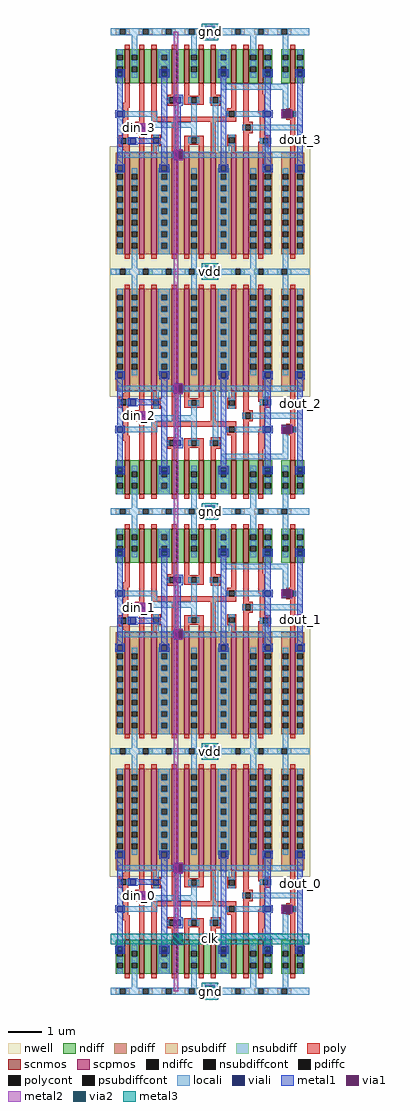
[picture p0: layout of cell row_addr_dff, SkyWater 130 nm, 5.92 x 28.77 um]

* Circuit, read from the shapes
.subckt row_addr_dff clk din_0 din_1 din_2 din_3 dout_0 dout_1 dout_2 dout_3 gnd vdd
XM1 gnd n1 n2 gnd sky130_fd_pr__nfet_01v8 w=1 l=0.15
XM2 gnd n3 n4 gnd sky130_fd_pr__nfet_01v8 w=1 l=0.15
XM3 gnd n5 n6 gnd sky130_fd_pr__nfet_01v8 w=1 l=0.15
XM4 gnd n7 n8 gnd sky130_fd_pr__nfet_01v8 w=1 l=0.15
XM5 n9 din_0 gnd gnd sky130_fd_pr__nfet_01v8 w=1 l=0.15
XM6 n10 din_1 gnd gnd sky130_fd_pr__nfet_01v8 w=1 l=0.15
XM7 n11 din_2 gnd gnd sky130_fd_pr__nfet_01v8 w=1 l=0.15
XM8 n12 din_3 gnd gnd sky130_fd_pr__nfet_01v8 w=1 l=0.15
XM9 n1 n13 n9 gnd sky130_fd_pr__nfet_01v8 w=1 l=0.15
XM10 n3 n14 n10 gnd sky130_fd_pr__nfet_01v8 w=1 l=0.15
XM11 n5 n15 n11 gnd sky130_fd_pr__nfet_01v8 w=1 l=0.15
XM12 n7 n16 n12 gnd sky130_fd_pr__nfet_01v8 w=1 l=0.15
XM13 n17 clk n1 gnd sky130_fd_pr__nfet_01v8 w=1 l=0.15
XM14 n18 clk n3 gnd sky130_fd_pr__nfet_01v8 w=1 l=0.15
XM15 n19 clk n5 gnd sky130_fd_pr__nfet_01v8 w=1 l=0.15
XM16 n20 clk n7 gnd sky130_fd_pr__nfet_01v8 w=1 l=0.15
XM17 gnd n2 n17 gnd sky130_fd_pr__nfet_01v8 w=1 l=0.15
XM18 gnd n4 n18 gnd sky130_fd_pr__nfet_01v8 w=1 l=0.15
XM19 gnd n6 n19 gnd sky130_fd_pr__nfet_01v8 w=1 l=0.15
XM20 gnd n8 n20 gnd sky130_fd_pr__nfet_01v8 w=1 l=0.15
XM21 n21 n2 gnd gnd sky130_fd_pr__nfet_01v8 w=1 l=0.15
XM22 n22 n4 gnd gnd sky130_fd_pr__nfet_01v8 w=1 l=0.15
XM23 n23 n6 gnd gnd sky130_fd_pr__nfet_01v8 w=1 l=0.15
XM24 n24 n8 gnd gnd sky130_fd_pr__nfet_01v8 w=1 l=0.15
XM25 dff_3/ON clk n21 gnd sky130_fd_pr__nfet_01v8 w=1 l=0.15
XM26 dff_2/ON clk n22 gnd sky130_fd_pr__nfet_01v8 w=1 l=0.15
XM27 dff_1/ON clk n23 gnd sky130_fd_pr__nfet_01v8 w=1 l=0.15
XM28 dff_0/ON clk n24 gnd sky130_fd_pr__nfet_01v8 w=1 l=0.15
XM29 n25 n13 dff_3/ON gnd sky130_fd_pr__nfet_01v8 w=1 l=0.15
XM30 n26 n14 dff_2/ON gnd sky130_fd_pr__nfet_01v8 w=1 l=0.15
XM31 n27 n15 dff_1/ON gnd sky130_fd_pr__nfet_01v8 w=1 l=0.15
XM32 n28 n16 dff_0/ON gnd sky130_fd_pr__nfet_01v8 w=1 l=0.15
XM33 gnd dout_0 n25 gnd sky130_fd_pr__nfet_01v8 w=1 l=0.15
XM34 gnd dout_1 n26 gnd sky130_fd_pr__nfet_01v8 w=1 l=0.15
XM35 gnd dout_2 n27 gnd sky130_fd_pr__nfet_01v8 w=1 l=0.15
XM36 gnd dout_3 n28 gnd sky130_fd_pr__nfet_01v8 w=1 l=0.15
XM37 n13 clk gnd gnd sky130_fd_pr__nfet_01v8 w=1 l=0.15
XM38 n14 clk gnd gnd sky130_fd_pr__nfet_01v8 w=1 l=0.15
XM39 n15 clk gnd gnd sky130_fd_pr__nfet_01v8 w=1 l=0.15
XM40 n16 clk gnd gnd sky130_fd_pr__nfet_01v8 w=1 l=0.15
XM41 dout_0 dff_3/ON gnd gnd sky130_fd_pr__nfet_01v8 w=1 l=0.15
XM42 dout_1 dff_2/ON gnd gnd sky130_fd_pr__nfet_01v8 w=1 l=0.15
XM43 dout_2 dff_1/ON gnd gnd sky130_fd_pr__nfet_01v8 w=1 l=0.15
XM44 dout_3 dff_0/ON gnd gnd sky130_fd_pr__nfet_01v8 w=1 l=0.15
XM45 vdd n1 n2 vdd sky130_fd_pr__pfet_01v8 w=3 l=0.15
XM46 vdd n3 n4 vdd sky130_fd_pr__pfet_01v8 w=3 l=0.15
XM47 vdd n5 n6 vdd sky130_fd_pr__pfet_01v8 w=3 l=0.15
XM48 vdd n7 n8 vdd sky130_fd_pr__pfet_01v8 w=3 l=0.15
XM49 n29 din_0 vdd vdd sky130_fd_pr__pfet_01v8 w=3 l=0.15
XM50 n30 din_1 vdd vdd sky130_fd_pr__pfet_01v8 w=3 l=0.15
XM51 n31 din_2 vdd vdd sky130_fd_pr__pfet_01v8 w=3 l=0.15
XM52 n32 din_3 vdd vdd sky130_fd_pr__pfet_01v8 w=3 l=0.15
XM53 n1 clk n29 vdd sky130_fd_pr__pfet_01v8 w=3 l=0.15
XM54 n3 clk n30 vdd sky130_fd_pr__pfet_01v8 w=3 l=0.15
XM55 n5 clk n31 vdd sky130_fd_pr__pfet_01v8 w=3 l=0.15
XM56 n7 clk n32 vdd sky130_fd_pr__pfet_01v8 w=3 l=0.15
XM57 n33 n13 n1 vdd sky130_fd_pr__pfet_01v8 w=3 l=0.15
XM58 n34 n14 n3 vdd sky130_fd_pr__pfet_01v8 w=3 l=0.15
XM59 n35 n15 n5 vdd sky130_fd_pr__pfet_01v8 w=3 l=0.15
XM60 n36 n16 n7 vdd sky130_fd_pr__pfet_01v8 w=3 l=0.15
XM61 vdd n2 n33 vdd sky130_fd_pr__pfet_01v8 w=3 l=0.15
XM62 vdd n4 n34 vdd sky130_fd_pr__pfet_01v8 w=3 l=0.15
XM63 vdd n6 n35 vdd sky130_fd_pr__pfet_01v8 w=3 l=0.15
XM64 vdd n8 n36 vdd sky130_fd_pr__pfet_01v8 w=3 l=0.15
XM65 n37 n2 vdd vdd sky130_fd_pr__pfet_01v8 w=3 l=0.15
XM66 n38 n4 vdd vdd sky130_fd_pr__pfet_01v8 w=3 l=0.15
XM67 n39 n6 vdd vdd sky130_fd_pr__pfet_01v8 w=3 l=0.15
XM68 n40 n8 vdd vdd sky130_fd_pr__pfet_01v8 w=3 l=0.15
XM69 dff_3/ON n13 n37 vdd sky130_fd_pr__pfet_01v8 w=3 l=0.15
XM70 dff_2/ON n14 n38 vdd sky130_fd_pr__pfet_01v8 w=3 l=0.15
XM71 dff_1/ON n15 n39 vdd sky130_fd_pr__pfet_01v8 w=3 l=0.15
XM72 dff_0/ON n16 n40 vdd sky130_fd_pr__pfet_01v8 w=3 l=0.15
XM73 n41 clk dff_3/ON vdd sky130_fd_pr__pfet_01v8 w=3 l=0.15
XM74 n42 clk dff_2/ON vdd sky130_fd_pr__pfet_01v8 w=3 l=0.15
XM75 n43 clk dff_1/ON vdd sky130_fd_pr__pfet_01v8 w=3 l=0.15
XM76 n44 clk dff_0/ON vdd sky130_fd_pr__pfet_01v8 w=3 l=0.15
XM77 vdd dout_0 n41 vdd sky130_fd_pr__pfet_01v8 w=3 l=0.15
XM78 vdd dout_1 n42 vdd sky130_fd_pr__pfet_01v8 w=3 l=0.15
XM79 vdd dout_2 n43 vdd sky130_fd_pr__pfet_01v8 w=3 l=0.15
XM80 vdd dout_3 n44 vdd sky130_fd_pr__pfet_01v8 w=3 l=0.15
XM81 n13 clk vdd vdd sky130_fd_pr__pfet_01v8 w=3 l=0.15
XM82 n14 clk vdd vdd sky130_fd_pr__pfet_01v8 w=3 l=0.15
XM83 n15 clk vdd vdd sky130_fd_pr__pfet_01v8 w=3 l=0.15
XM84 n16 clk vdd vdd sky130_fd_pr__pfet_01v8 w=3 l=0.15
XM85 dout_0 dff_3/ON vdd vdd sky130_fd_pr__pfet_01v8 w=3 l=0.15
XM86 dout_1 dff_2/ON vdd vdd sky130_fd_pr__pfet_01v8 w=3 l=0.15
XM87 dout_2 dff_1/ON vdd vdd sky130_fd_pr__pfet_01v8 w=3 l=0.15
XM88 dout_3 dff_0/ON vdd vdd sky130_fd_pr__pfet_01v8 w=3 l=0.15
.ends

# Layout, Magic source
magic
tech sky130A
magscale 1 2
<< metal1 >>
rect 552 5630 616 5682
rect 552 4216 616 4268
rect 552 2802 616 2854
rect 552 1388 616 1440
rect 552 -26 616 26
<< metal2 >>
rect 137 5066 203 5118
rect 137 3366 203 3418
rect 137 2238 203 2290
rect 137 538 203 590
rect 369 0 397 5656
rect 556 5632 612 5680
rect 1082 4995 1148 5047
rect 556 4218 612 4266
rect 1082 3437 1148 3489
rect 556 2804 612 2852
rect 1082 2167 1148 2219
rect 556 1390 612 1438
rect 1082 609 1148 661
rect 556 -24 612 24
<< metal3 >>
rect 535 5607 633 5705
rect 535 4193 633 4291
rect 535 2779 633 2877
rect 535 1365 633 1463
rect 0 278 1168 338
rect 535 -49 633 49
use contact_9  contact_9_8
transform 1 0 551 0 1 1377
box 0 0 66 74
use contact_9  contact_9_7
transform 1 0 551 0 1 -37
box 0 0 66 74
use contact_9  contact_9_6
transform 1 0 551 0 1 1377
box 0 0 66 74
use contact_9  contact_9_5
transform 1 0 551 0 1 2791
box 0 0 66 74
use contact_9  contact_9_4
transform 1 0 551 0 1 4205
box 0 0 66 74
use contact_9  contact_9_3
transform 1 0 551 0 1 2791
box 0 0 66 74
use contact_9  contact_9_2
transform 1 0 551 0 1 4205
box 0 0 66 74
use contact_9  contact_9_1
transform 1 0 551 0 1 5619
box 0 0 66 74
use contact_9  contact_9_0
transform 1 0 363 0 1 271
box 0 0 66 74
use contact_8  contact_8_0
transform 1 0 552 0 1 5624
box 0 0 64 64
use contact_7  contact_7_0
transform 1 0 555 0 1 5623
box 0 0 58 66
use contact_8  contact_8_1
transform 1 0 552 0 1 4210
box 0 0 64 64
use contact_7  contact_7_1
transform 1 0 555 0 1 4209
box 0 0 58 66
use contact_8  contact_8_2
transform 1 0 552 0 1 2796
box 0 0 64 64
use contact_7  contact_7_2
transform 1 0 555 0 1 2795
box 0 0 58 66
use contact_8  contact_8_3
transform 1 0 552 0 1 4210
box 0 0 64 64
use contact_7  contact_7_3
transform 1 0 555 0 1 4209
box 0 0 58 66
use contact_8  contact_8_4
transform 1 0 552 0 1 2796
box 0 0 64 64
use contact_7  contact_7_4
transform 1 0 555 0 1 2795
box 0 0 58 66
use contact_8  contact_8_5
transform 1 0 552 0 1 1382
box 0 0 64 64
use contact_7  contact_7_5
transform 1 0 555 0 1 1381
box 0 0 58 66
use contact_8  contact_8_6
transform 1 0 552 0 1 -32
box 0 0 64 64
use contact_7  contact_7_6
transform 1 0 555 0 1 -33
box 0 0 58 66
use contact_8  contact_8_7
transform 1 0 552 0 1 1382
box 0 0 64 64
use contact_7  contact_7_7
transform 1 0 555 0 1 1381
box 0 0 58 66
use dff  dff_0
transform 1 0 0 0 -1 5656
box -8 -20 1176 1467
use dff  dff_1
transform 1 0 0 0 1 2828
box -8 -20 1176 1467
use dff  dff_2
transform 1 0 0 0 -1 2828
box -8 -20 1176 1467
use dff  dff_3
transform 1 0 0 0 1 0
box -8 -20 1176 1467
<< labels >>
rlabel metal3 s 584 0 584 0 4 gnd
rlabel metal3 s 584 5656 584 5656 4 gnd
rlabel metal3 s 584 2828 584 2828 4 gnd
rlabel metal2 s 1115 3463 1115 3463 4 dout_2
rlabel metal2 s 1115 635 1115 635 4 dout_0
rlabel metal2 s 1115 2193 1115 2193 4 dout_1
rlabel metal2 s 170 564 170 564 4 din_0
rlabel metal3 s 584 4242 584 4242 4 vdd
rlabel metal3 s 584 1414 584 1414 4 vdd
rlabel metal2 s 1115 5021 1115 5021 4 dout_3
rlabel metal3 s 584 308 584 308 4 clk
rlabel metal2 s 170 3392 170 3392 4 din_2
rlabel metal2 s 170 5092 170 5092 4 din_3
rlabel metal2 s 170 2264 170 2264 4 din_1
<< properties >>
string FIXED_BBOX 0 0 1168 5656
<< end >>

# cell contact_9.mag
magic
tech sky130A
magscale 1 2
<< metal2 >>
rect 5 65 61 74
rect 5 0 61 9
<< via2 >>
rect 5 9 61 65
<< metal3 >>
rect 0 65 66 70
rect 0 9 5 65
rect 61 9 66 65
rect 0 4 66 9
<< properties >>
string FIXED_BBOX 0 0 66 74
<< end >>

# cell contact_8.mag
magic
tech sky130A
<< metal1 >>
rect 0 3 3 29
rect 29 3 32 29
<< via1 >>
rect 3 3 29 29
<< metal2 >>
rect 3 29 29 32
rect 3 0 29 3
<< properties >>
string FIXED_BBOX 0 0 32 32
<< end >>

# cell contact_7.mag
magic
tech sky130A
<< locali >>
rect 6 25 23 33
rect 6 0 23 8
<< viali >>
rect 6 8 23 25
<< metal1 >>
rect 0 25 29 28
rect 0 8 6 25
rect 23 8 29 25
rect 0 5 29 8
<< properties >>
string FIXED_BBOX 0 0 29 33
<< end >>

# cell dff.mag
magic
tech sky130A
magscale 1 2
<< nwell >>
rect -8 676 1176 1467
<< scnmos >>
rect 81 102 111 302
rect 167 102 197 302
rect 239 102 269 302
rect 359 102 389 302
rect 431 102 461 302
rect 517 102 547 302
rect 589 102 619 302
rect 709 102 739 302
rect 781 102 811 302
rect 867 102 897 302
rect 1057 102 1087 302
<< scpmos >>
rect 81 712 111 1312
rect 167 712 197 1312
rect 239 712 269 1312
rect 359 712 389 1312
rect 431 712 461 1312
rect 517 712 547 1312
rect 589 712 619 1312
rect 709 712 739 1312
rect 781 712 811 1312
rect 867 712 897 1312
rect 1057 712 1087 1312
<< ndiff >>
rect 28 237 81 302
rect 28 203 36 237
rect 70 203 81 237
rect 28 169 81 203
rect 28 135 36 169
rect 70 135 81 169
rect 28 102 81 135
rect 111 237 167 302
rect 111 203 122 237
rect 156 203 167 237
rect 111 169 167 203
rect 111 135 122 169
rect 156 135 167 169
rect 111 102 167 135
rect 197 102 239 302
rect 269 237 359 302
rect 269 203 297 237
rect 331 203 359 237
rect 269 169 359 203
rect 269 135 297 169
rect 331 135 359 169
rect 269 102 359 135
rect 389 102 431 302
rect 461 237 517 302
rect 461 203 472 237
rect 506 203 517 237
rect 461 169 517 203
rect 461 135 472 169
rect 506 135 517 169
rect 461 102 517 135
rect 547 102 589 302
rect 619 237 709 302
rect 619 203 647 237
rect 681 203 709 237
rect 619 169 709 203
rect 619 135 647 169
rect 681 135 709 169
rect 619 102 709 135
rect 739 102 781 302
rect 811 237 867 302
rect 811 203 822 237
rect 856 203 867 237
rect 811 169 867 203
rect 811 135 822 169
rect 856 135 867 169
rect 811 102 867 135
rect 897 237 950 302
rect 897 203 908 237
rect 942 203 950 237
rect 897 169 950 203
rect 897 135 908 169
rect 942 135 950 169
rect 897 102 950 135
rect 1004 237 1057 302
rect 1004 203 1012 237
rect 1046 203 1057 237
rect 1004 169 1057 203
rect 1004 135 1012 169
rect 1046 135 1057 169
rect 1004 102 1057 135
rect 1087 237 1140 302
rect 1087 203 1098 237
rect 1132 203 1140 237
rect 1087 169 1140 203
rect 1087 135 1098 169
rect 1132 135 1140 169
rect 1087 102 1140 135
<< pdiff >>
rect 28 1279 81 1312
rect 28 1245 36 1279
rect 70 1245 81 1279
rect 28 1211 81 1245
rect 28 1177 36 1211
rect 70 1177 81 1211
rect 28 1143 81 1177
rect 28 1109 36 1143
rect 70 1109 81 1143
rect 28 1075 81 1109
rect 28 1041 36 1075
rect 70 1041 81 1075
rect 28 1007 81 1041
rect 28 973 36 1007
rect 70 973 81 1007
rect 28 939 81 973
rect 28 905 36 939
rect 70 905 81 939
rect 28 871 81 905
rect 28 837 36 871
rect 70 837 81 871
rect 28 712 81 837
rect 111 1279 167 1312
rect 111 1245 122 1279
rect 156 1245 167 1279
rect 111 1211 167 1245
rect 111 1177 122 1211
rect 156 1177 167 1211
rect 111 1143 167 1177
rect 111 1109 122 1143
rect 156 1109 167 1143
rect 111 1075 167 1109
rect 111 1041 122 1075
rect 156 1041 167 1075
rect 111 1007 167 1041
rect 111 973 122 1007
rect 156 973 167 1007
rect 111 939 167 973
rect 111 905 122 939
rect 156 905 167 939
rect 111 871 167 905
rect 111 837 122 871
rect 156 837 167 871
rect 111 712 167 837
rect 197 712 239 1312
rect 269 1279 359 1312
rect 269 1245 297 1279
rect 331 1245 359 1279
rect 269 1211 359 1245
rect 269 1177 297 1211
rect 331 1177 359 1211
rect 269 1143 359 1177
rect 269 1109 297 1143
rect 331 1109 359 1143
rect 269 1075 359 1109
rect 269 1041 297 1075
rect 331 1041 359 1075
rect 269 1007 359 1041
rect 269 973 297 1007
rect 331 973 359 1007
rect 269 939 359 973
rect 269 905 297 939
rect 331 905 359 939
rect 269 871 359 905
rect 269 837 297 871
rect 331 837 359 871
rect 269 712 359 837
rect 389 712 431 1312
rect 461 1279 517 1312
rect 461 1245 472 1279
rect 506 1245 517 1279
rect 461 1211 517 1245
rect 461 1177 472 1211
rect 506 1177 517 1211
rect 461 1143 517 1177
rect 461 1109 472 1143
rect 506 1109 517 1143
rect 461 1075 517 1109
rect 461 1041 472 1075
rect 506 1041 517 1075
rect 461 1007 517 1041
rect 461 973 472 1007
rect 506 973 517 1007
rect 461 939 517 973
rect 461 905 472 939
rect 506 905 517 939
rect 461 871 517 905
rect 461 837 472 871
rect 506 837 517 871
rect 461 712 517 837
rect 547 712 589 1312
rect 619 1279 709 1312
rect 619 1245 647 1279
rect 681 1245 709 1279
rect 619 1211 709 1245
rect 619 1177 647 1211
rect 681 1177 709 1211
rect 619 1143 709 1177
rect 619 1109 647 1143
rect 681 1109 709 1143
rect 619 1075 709 1109
rect 619 1041 647 1075
rect 681 1041 709 1075
rect 619 1007 709 1041
rect 619 973 647 1007
rect 681 973 709 1007
rect 619 939 709 973
rect 619 905 647 939
rect 681 905 709 939
rect 619 871 709 905
rect 619 837 647 871
rect 681 837 709 871
rect 619 712 709 837
rect 739 712 781 1312
rect 811 1279 867 1312
rect 811 1245 822 1279
rect 856 1245 867 1279
rect 811 1211 867 1245
rect 811 1177 822 1211
rect 856 1177 867 1211
rect 811 1143 867 1177
rect 811 1109 822 1143
rect 856 1109 867 1143
rect 811 1075 867 1109
rect 811 1041 822 1075
rect 856 1041 867 1075
rect 811 1007 867 1041
rect 811 973 822 1007
rect 856 973 867 1007
rect 811 939 867 973
rect 811 905 822 939
rect 856 905 867 939
rect 811 871 867 905
rect 811 837 822 871
rect 856 837 867 871
rect 811 712 867 837
rect 897 1279 950 1312
rect 897 1245 908 1279
rect 942 1245 950 1279
rect 897 1211 950 1245
rect 897 1177 908 1211
rect 942 1177 950 1211
rect 897 1143 950 1177
rect 897 1109 908 1143
rect 942 1109 950 1143
rect 897 1075 950 1109
rect 897 1041 908 1075
rect 942 1041 950 1075
rect 897 1007 950 1041
rect 897 973 908 1007
rect 942 973 950 1007
rect 897 939 950 973
rect 897 905 908 939
rect 942 905 950 939
rect 897 871 950 905
rect 897 837 908 871
rect 942 837 950 871
rect 897 712 950 837
rect 1004 1279 1057 1312
rect 1004 1245 1012 1279
rect 1046 1245 1057 1279
rect 1004 1211 1057 1245
rect 1004 1177 1012 1211
rect 1046 1177 1057 1211
rect 1004 1143 1057 1177
rect 1004 1109 1012 1143
rect 1046 1109 1057 1143
rect 1004 1075 1057 1109
rect 1004 1041 1012 1075
rect 1046 1041 1057 1075
rect 1004 1007 1057 1041
rect 1004 973 1012 1007
rect 1046 973 1057 1007
rect 1004 939 1057 973
rect 1004 905 1012 939
rect 1046 905 1057 939
rect 1004 871 1057 905
rect 1004 837 1012 871
rect 1046 837 1057 871
rect 1004 712 1057 837
rect 1087 1279 1140 1312
rect 1087 1245 1098 1279
rect 1132 1245 1140 1279
rect 1087 1211 1140 1245
rect 1087 1177 1098 1211
rect 1132 1177 1140 1211
rect 1087 1143 1140 1177
rect 1087 1109 1098 1143
rect 1132 1109 1140 1143
rect 1087 1075 1140 1109
rect 1087 1041 1098 1075
rect 1132 1041 1140 1075
rect 1087 1007 1140 1041
rect 1087 973 1098 1007
rect 1132 973 1140 1007
rect 1087 939 1140 973
rect 1087 905 1098 939
rect 1132 905 1140 939
rect 1087 871 1140 905
rect 1087 837 1098 871
rect 1132 837 1140 871
rect 1087 712 1140 837
<< ndiffc >>
rect 36 203 70 237
rect 36 135 70 169
rect 122 203 156 237
rect 122 135 156 169
rect 297 203 331 237
rect 297 135 331 169
rect 472 203 506 237
rect 472 135 506 169
rect 647 203 681 237
rect 647 135 681 169
rect 822 203 856 237
rect 822 135 856 169
rect 908 203 942 237
rect 908 135 942 169
rect 1012 203 1046 237
rect 1012 135 1046 169
rect 1098 203 1132 237
rect 1098 135 1132 169
<< pdiffc >>
rect 36 1245 70 1279
rect 36 1177 70 1211
rect 36 1109 70 1143
rect 36 1041 70 1075
rect 36 973 70 1007
rect 36 905 70 939
rect 36 837 70 871
rect 122 1245 156 1279
rect 122 1177 156 1211
rect 122 1109 156 1143
rect 122 1041 156 1075
rect 122 973 156 1007
rect 122 905 156 939
rect 122 837 156 871
rect 297 1245 331 1279
rect 297 1177 331 1211
rect 297 1109 331 1143
rect 297 1041 331 1075
rect 297 973 331 1007
rect 297 905 331 939
rect 297 837 331 871
rect 472 1245 506 1279
rect 472 1177 506 1211
rect 472 1109 506 1143
rect 472 1041 506 1075
rect 472 973 506 1007
rect 472 905 506 939
rect 472 837 506 871
rect 647 1245 681 1279
rect 647 1177 681 1211
rect 647 1109 681 1143
rect 647 1041 681 1075
rect 647 973 681 1007
rect 647 905 681 939
rect 647 837 681 871
rect 822 1245 856 1279
rect 822 1177 856 1211
rect 822 1109 856 1143
rect 822 1041 856 1075
rect 822 973 856 1007
rect 822 905 856 939
rect 822 837 856 871
rect 908 1245 942 1279
rect 908 1177 942 1211
rect 908 1109 942 1143
rect 908 1041 942 1075
rect 908 973 942 1007
rect 908 905 942 939
rect 908 837 942 871
rect 1012 1245 1046 1279
rect 1012 1177 1046 1211
rect 1012 1109 1046 1143
rect 1012 1041 1046 1075
rect 1012 973 1046 1007
rect 1012 905 1046 939
rect 1012 837 1046 871
rect 1098 1245 1132 1279
rect 1098 1177 1132 1211
rect 1098 1109 1132 1143
rect 1098 1041 1132 1075
rect 1098 973 1132 1007
rect 1098 905 1132 939
rect 1098 837 1132 871
<< psubdiff >>
rect 28 -17 52 17
rect 86 -17 110 17
rect 164 -17 188 17
rect 222 -17 246 17
rect 300 -17 324 17
rect 358 -17 382 17
rect 436 -17 460 17
rect 494 -17 518 17
rect 572 -17 596 17
rect 630 -17 654 17
rect 708 -17 732 17
rect 766 -17 790 17
rect 844 -17 868 17
rect 902 -17 926 17
rect 980 -17 1004 17
rect 1038 -17 1062 17
<< nsubdiff >>
rect 28 1397 52 1431
rect 86 1397 110 1431
rect 164 1397 188 1431
rect 222 1397 246 1431
rect 300 1397 324 1431
rect 358 1397 382 1431
rect 436 1397 460 1431
rect 494 1397 518 1431
rect 572 1397 596 1431
rect 630 1397 654 1431
rect 708 1397 732 1431
rect 766 1397 790 1431
rect 844 1397 868 1431
rect 902 1397 926 1431
rect 980 1397 1004 1431
rect 1038 1397 1062 1431
<< psubdiffcont >>
rect 52 -17 86 17
rect 188 -17 222 17
rect 324 -17 358 17
rect 460 -17 494 17
rect 596 -17 630 17
rect 732 -17 766 17
rect 868 -17 902 17
rect 1004 -17 1038 17
<< nsubdiffcont >>
rect 52 1397 86 1431
rect 188 1397 222 1431
rect 324 1397 358 1431
rect 460 1397 494 1431
rect 596 1397 630 1431
rect 732 1397 766 1431
rect 868 1397 902 1431
rect 1004 1397 1038 1431
<< poly >>
rect 81 1312 111 1338
rect 167 1312 197 1338
rect 239 1312 269 1338
rect 359 1312 389 1338
rect 431 1312 461 1338
rect 517 1312 547 1338
rect 589 1312 619 1338
rect 709 1312 739 1338
rect 781 1312 811 1338
rect 867 1312 897 1338
rect 1057 1312 1087 1338
rect 81 697 111 712
rect 70 677 111 697
rect 47 667 111 677
rect 47 661 101 667
rect 47 627 57 661
rect 91 627 101 661
rect 47 611 101 627
rect 71 447 101 611
rect 167 597 197 712
rect 239 672 269 712
rect 239 656 293 672
rect 239 622 249 656
rect 283 622 293 656
rect 239 606 293 622
rect 143 581 197 597
rect 143 547 153 581
rect 187 547 197 581
rect 143 531 197 547
rect 359 531 389 712
rect 431 667 461 712
rect 517 667 547 712
rect 431 657 547 667
rect 431 623 472 657
rect 506 623 547 657
rect 431 613 547 623
rect 589 531 619 712
rect 709 672 739 712
rect 685 656 739 672
rect 685 622 695 656
rect 729 622 739 656
rect 685 606 739 622
rect 781 597 811 712
rect 867 677 897 712
rect 867 661 938 677
rect 867 647 894 661
rect 878 627 894 647
rect 928 627 938 661
rect 878 611 938 627
rect 781 581 835 597
rect 781 547 791 581
rect 825 547 835 581
rect 781 531 835 547
rect 71 417 111 447
rect 81 302 111 417
rect 167 302 197 531
rect 239 501 739 531
rect 239 302 269 501
rect 685 467 695 501
rect 729 467 739 501
rect 685 451 739 467
rect 335 421 389 437
rect 335 387 345 421
rect 379 387 389 421
rect 335 371 389 387
rect 359 302 389 371
rect 431 421 547 431
rect 431 387 472 421
rect 506 387 547 421
rect 431 377 547 387
rect 431 302 461 377
rect 517 302 547 377
rect 589 421 643 437
rect 589 387 599 421
rect 633 387 643 421
rect 589 371 643 387
rect 589 302 619 371
rect 709 302 739 451
rect 781 302 811 531
rect 878 481 908 611
rect 1057 517 1087 712
rect 867 371 908 481
rect 1033 501 1087 517
rect 1033 467 1043 501
rect 1077 467 1087 501
rect 1033 451 1087 467
rect 867 302 897 371
rect 1057 302 1087 451
rect 81 76 111 102
rect 167 76 197 102
rect 239 76 269 102
rect 359 76 389 102
rect 431 76 461 102
rect 517 76 547 102
rect 589 76 619 102
rect 709 76 739 102
rect 781 76 811 102
rect 867 76 897 102
rect 1057 76 1087 102
<< polycont >>
rect 57 627 91 661
rect 249 622 283 656
rect 153 547 187 581
rect 472 623 506 657
rect 695 622 729 656
rect 894 627 928 661
rect 791 547 825 581
rect 695 467 729 501
rect 345 387 379 421
rect 472 387 506 421
rect 599 387 633 421
rect 1043 467 1077 501
<< locali >>
rect 0 1431 1168 1432
rect 0 1397 52 1431
rect 86 1397 188 1431
rect 222 1397 324 1431
rect 358 1397 460 1431
rect 494 1397 596 1431
rect 630 1397 732 1431
rect 766 1397 868 1431
rect 902 1397 1004 1431
rect 1038 1397 1168 1431
rect 0 1396 1168 1397
rect 36 1279 70 1312
rect 36 1211 70 1245
rect 36 1143 70 1177
rect 36 1075 70 1109
rect 36 1007 70 1041
rect 36 939 70 973
rect 36 871 70 905
rect 36 821 70 837
rect 122 1279 156 1396
rect 122 1211 156 1245
rect 122 1143 156 1177
rect 122 1075 156 1109
rect 122 1007 156 1041
rect 122 939 156 973
rect 122 871 156 905
rect 122 804 156 837
rect 280 1279 348 1312
rect 280 1245 297 1279
rect 331 1245 348 1279
rect 280 1211 348 1245
rect 280 1177 297 1211
rect 331 1177 348 1211
rect 280 1143 348 1177
rect 280 1109 297 1143
rect 331 1109 348 1143
rect 280 1075 348 1109
rect 280 1041 297 1075
rect 331 1041 348 1075
rect 280 1007 348 1041
rect 280 973 297 1007
rect 331 973 348 1007
rect 280 939 348 973
rect 280 905 297 939
rect 331 905 348 939
rect 280 871 348 905
rect 280 837 297 871
rect 331 837 348 871
rect 280 821 348 837
rect 280 804 297 821
rect 331 804 348 821
rect 472 1279 506 1396
rect 472 1211 506 1245
rect 472 1143 506 1177
rect 472 1075 506 1109
rect 472 1007 506 1041
rect 472 939 506 973
rect 472 871 506 905
rect 472 804 506 837
rect 630 1279 698 1312
rect 630 1245 647 1279
rect 681 1245 698 1279
rect 630 1211 698 1245
rect 630 1177 647 1211
rect 681 1177 698 1211
rect 630 1143 698 1177
rect 630 1109 647 1143
rect 681 1109 698 1143
rect 630 1075 698 1109
rect 630 1041 647 1075
rect 681 1041 698 1075
rect 630 1007 698 1041
rect 630 973 647 1007
rect 681 973 698 1007
rect 630 939 698 973
rect 630 905 647 939
rect 681 905 698 939
rect 630 871 698 905
rect 630 837 647 871
rect 681 837 698 871
rect 630 821 698 837
rect 630 804 647 821
rect 681 804 698 821
rect 822 1279 856 1396
rect 822 1211 856 1245
rect 822 1143 856 1177
rect 822 1075 856 1109
rect 822 1007 856 1041
rect 822 939 856 973
rect 822 871 856 905
rect 822 804 856 837
rect 908 1279 942 1312
rect 908 1211 942 1245
rect 908 1143 942 1177
rect 908 1075 942 1109
rect 908 1007 942 1041
rect 908 939 942 973
rect 908 871 942 905
rect 908 821 942 837
rect 1012 1279 1046 1396
rect 1012 1211 1046 1245
rect 1012 1143 1046 1177
rect 1012 1075 1046 1109
rect 1012 1007 1046 1041
rect 1012 939 1046 973
rect 1012 871 1046 905
rect 1012 804 1046 837
rect 1098 1279 1132 1312
rect 1098 1211 1132 1245
rect 1098 1143 1132 1177
rect 1098 1075 1132 1109
rect 1098 1007 1132 1041
rect 1098 939 1132 973
rect 1098 871 1132 905
rect 1098 821 1132 837
rect 41 707 379 741
rect 413 707 1132 741
rect 41 627 57 661
rect 91 627 113 661
rect 249 656 283 707
rect 456 623 472 657
rect 506 623 522 657
rect 249 606 283 622
rect 137 547 153 581
rect 187 547 203 581
rect 472 566 506 623
rect 239 532 506 566
rect 239 501 273 532
rect 70 467 273 501
rect 472 421 506 532
rect 599 421 633 707
rect 695 656 729 707
rect 894 661 928 707
rect 878 627 894 661
rect 928 627 944 661
rect 695 606 729 622
rect 1098 581 1132 618
rect 775 547 791 581
rect 825 547 1132 581
rect 679 467 695 501
rect 729 467 908 501
rect 1012 467 1020 501
rect 1077 467 1093 501
rect 328 387 345 421
rect 456 387 472 421
rect 506 387 522 421
rect 583 387 599 421
rect 633 387 649 421
rect 1012 341 1046 467
rect 647 307 1046 341
rect 647 270 681 307
rect 36 261 70 270
rect 36 169 70 203
rect 36 102 70 135
rect 122 237 156 270
rect 122 169 156 203
rect 122 20 156 135
rect 280 261 348 270
rect 280 203 297 261
rect 331 203 348 261
rect 280 169 348 203
rect 280 135 297 169
rect 331 135 348 169
rect 280 102 348 135
rect 472 237 506 270
rect 472 169 506 203
rect 472 20 506 135
rect 630 261 698 270
rect 630 203 647 261
rect 681 203 698 261
rect 630 169 698 203
rect 630 135 647 169
rect 681 135 698 169
rect 630 102 698 135
rect 822 237 856 270
rect 822 169 856 203
rect 822 20 856 135
rect 908 261 942 271
rect 908 169 942 203
rect 908 102 942 135
rect 1012 237 1046 270
rect 1012 169 1046 203
rect 1012 20 1046 135
rect 1098 261 1132 271
rect 1098 169 1132 203
rect 1098 102 1132 135
rect 0 17 1168 20
rect 0 -17 52 17
rect 86 -17 188 17
rect 222 -17 324 17
rect 358 -17 460 17
rect 494 -17 596 17
rect 630 -17 732 17
rect 766 -17 868 17
rect 902 -17 1004 17
rect 1038 -17 1168 17
rect 0 -20 1168 -17
<< viali >>
rect 36 787 70 821
rect 297 787 331 821
rect 647 787 681 821
rect 908 787 942 821
rect 1098 787 1132 821
rect 379 707 413 741
rect 113 627 147 661
rect 153 547 187 581
rect 36 467 70 501
rect 1098 618 1132 652
rect 908 467 942 501
rect 1020 467 1043 501
rect 1043 467 1054 501
rect 379 387 413 421
rect 36 237 70 261
rect 36 227 70 237
rect 297 237 331 261
rect 297 227 331 237
rect 647 237 681 261
rect 647 227 681 237
rect 908 237 942 261
rect 908 227 942 237
rect 1098 237 1132 261
rect 1098 227 1132 237
<< metal1 >>
rect 24 821 82 827
rect 24 787 36 821
rect 70 787 82 821
rect 24 781 82 787
rect 285 821 343 827
rect 285 787 297 821
rect 331 787 343 821
rect 285 781 343 787
rect 635 821 693 827
rect 635 787 647 821
rect 681 787 693 821
rect 635 781 693 787
rect 896 821 954 827
rect 896 787 908 821
rect 942 787 954 821
rect 896 781 954 787
rect 1086 821 1144 827
rect 1086 787 1098 821
rect 1132 787 1144 821
rect 1086 781 1144 787
rect 36 507 70 781
rect 101 661 159 667
rect 297 661 331 781
rect 369 750 423 756
rect 369 747 370 750
rect 367 701 370 747
rect 422 747 423 750
rect 369 698 370 701
rect 422 701 425 747
rect 422 698 423 701
rect 369 692 423 698
rect 101 627 113 661
rect 147 627 331 661
rect 101 621 159 627
rect 137 538 144 590
rect 196 538 203 590
rect 24 501 82 507
rect 24 467 36 501
rect 70 467 82 501
rect 24 461 82 467
rect 36 267 70 461
rect 297 267 331 627
rect 379 436 413 692
rect 369 427 423 436
rect 367 421 425 427
rect 367 387 379 421
rect 413 387 425 421
rect 367 381 425 387
rect 369 372 423 381
rect 647 267 681 781
rect 908 507 942 781
rect 1098 661 1132 781
rect 1082 609 1089 661
rect 1141 609 1148 661
rect 896 501 954 507
rect 896 467 908 501
rect 942 467 954 501
rect 896 461 954 467
rect 908 267 942 461
rect 1004 458 1011 510
rect 1063 458 1070 510
rect 1098 267 1132 609
rect 24 261 82 267
rect 24 227 36 261
rect 70 227 82 261
rect 24 221 82 227
rect 285 261 343 267
rect 285 227 297 261
rect 331 227 343 261
rect 285 221 343 227
rect 635 261 693 267
rect 635 227 647 261
rect 681 227 693 261
rect 635 221 693 227
rect 896 261 954 267
rect 896 227 908 261
rect 942 227 954 261
rect 896 221 954 227
rect 1086 261 1144 267
rect 1086 227 1098 261
rect 1132 227 1144 261
rect 1086 221 1144 227
<< via1 >>
rect 370 741 422 750
rect 370 707 379 741
rect 379 707 413 741
rect 413 707 422 741
rect 370 698 422 707
rect 144 581 196 590
rect 144 547 153 581
rect 153 547 187 581
rect 187 547 196 581
rect 144 538 196 547
rect 1089 652 1141 661
rect 1089 618 1098 652
rect 1098 618 1132 652
rect 1132 618 1141 652
rect 1089 609 1141 618
rect 1011 501 1063 510
rect 1011 467 1020 501
rect 1020 467 1054 501
rect 1054 467 1063 501
rect 1011 458 1063 467
<< metal2 >>
rect 369 750 423 756
rect 369 698 370 750
rect 422 698 423 750
rect 369 692 423 698
rect 1082 609 1089 661
rect 1141 609 1148 661
rect 137 538 144 590
rect 196 538 203 590
rect 1004 458 1011 510
rect 1063 458 1070 510
<< labels >>
rlabel corelocali s 544 0 544 0 4 gnd
rlabel corelocali s 548 1416 548 1416 4 vdd
rlabel metal2 s 1146 659 1146 659 4 Q
rlabel metal2 s 419 753 419 753 4 clk
rlabel metal2 s 1007 504 1007 504 4 ON
rlabel metal2 s 139 586 139 586 4 D
rlabel corelocali s 584 0 584 0 4 gnd
rlabel metal2 s 396 724 396 724 4 clk
rlabel metal2 s 170 564 170 564 4 D
rlabel metal2 s 1115 635 1115 635 4 Q
rlabel corelocali s 584 1414 584 1414 4 vdd
<< properties >>
string FIXED_BBOX 0 0 1168 1414
<< end >>
